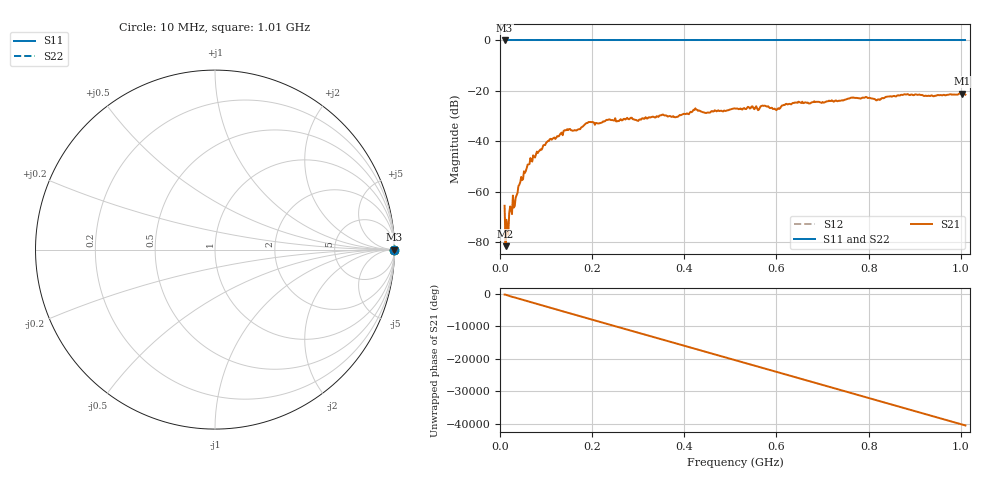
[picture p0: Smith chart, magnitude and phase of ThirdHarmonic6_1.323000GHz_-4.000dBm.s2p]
! 8/16/2025 2:43:21 PM
! C:\ANRITSUVNA\TEMP\TEMP.S2P
! CHANNEL.1
! TR.MEASUREMENT
! RAW.DATA
! RF.CORRECTION.OFF
! AVERAGING.OFF
! IF.BANDWIDTH: 5KHZ
! SWEEPTYPE:  FREQ.SWEEP(Linear)
! Reference Plane Port Info
! PORT:  PORT1  PORT2
! DISTANCE:  0  m  0  m
! TIME:  0  s  0  s
! PHASE.OFFSET:  0  deg.  0  deg.
! LOSS:  0  dB  0  dB
! REF.LOSS:  0  dB  0  dB
! REF.FREQ:  0  Hz  0  Hz
! Power Info
! POWER:  -20  dBm  -20  dBm
! EFF.POWER:  -20  dBm  -20  dBm
! SOURCE.ATTEN:  0  dB  0  dB
! TEST.ATTEN:  0  dB  0  dB
# GHZ S RI R 50.0
! FREQ.GHZ  S11RE  S11IM  S21RE  S21IM  S12RE  S12IM  S22RE  S22IM
!; PortSelection: Port_12
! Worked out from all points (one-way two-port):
!   501 points, 10 MHz to 1.01 GHz, reference 50 ohm
!   highest |S21| = -21.03 dB at 1.002 GHz (marker M1); lowest = -81.5 dB at 12 MHz (marker M2)
!   lowest |S11| = 0.0 dB at 10 MHz (marker M3)
!   |S11| at or under -10 dB: nowhere
!   |S22| runs from 0.0 to 0.0 dB; largest |S21 - S12| = 1.1
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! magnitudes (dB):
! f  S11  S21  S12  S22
! 10 MHz  0.0  -65.5  0.0  0.0
! 12 MHz  0.0  -81.5  0.0  0.0
! 16 MHz  0.0  -74.2  0.0  0.0
! 24 MHz  0.0  -66.5  0.0  0.0
! 34 MHz  0.0  -62.4  0.0  0.0
! 44 MHz  0.0  -56.1  0.0  0.0
! 70 MHz  0.0  -48.0  0.0  0.0
! 106 MHz  0.0  -39.8  0.0  0.0
! 142 MHz  0.0  -35.6  0.0  0.0
! 178 MHz  0.0  -34.3  0.0  0.0
! 196 MHz  0.0  -32.3  0.0  0.0
! 344 MHz  0.0  -30.3  0.0  0.0
! 382 MHz  0.0  -30.4  0.0  0.0
! 424 MHz  0.0  -26.9  0.0  0.0
! 510 MHz  0.0  -27.0  0.0  0.0
! 572 MHz  0.0  -25.9  0.0  0.0
! 602 MHz  0.0  -27.1  0.0  0.0
! 624 MHz  0.0  -25.4  0.0  0.0
! 678 MHz  0.0  -24.5  0.0  0.0
! 844 MHz  0.0  -22.2  0.0  0.0
! 1.002 GHz  0.0  -21.0  0.0  0.0
! 1.01 GHz  0.0  -21.5  0.0  0.0
